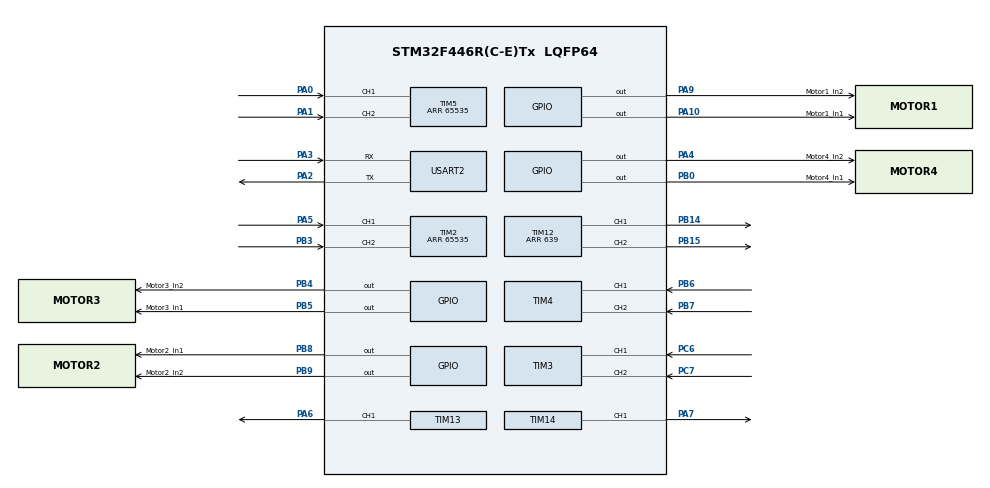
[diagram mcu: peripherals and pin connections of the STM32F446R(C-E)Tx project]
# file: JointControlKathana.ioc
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Dma.Request0=USART2_RX
Dma.Request1=USART2_TX
Dma.USART2_RX.0.Direction=DMA_PERIPH_TO_MEMORY
Dma.USART2_RX.0.FIFOMode=DMA_FIFOMODE_DISABLE
Dma.USART2_RX.0.Instance=DMA1_Stream5
Dma.USART2_RX.0.MemDataAlignment=DMA_MDATAALIGN_BYTE
Dma.USART2_RX.0.MemInc=DMA_MINC_ENABLE
Dma.USART2_RX.0.Mode=DMA_NORMAL
Dma.USART2_RX.0.PeriphDataAlignment=DMA_PDATAALIGN_BYTE
Dma.USART2_RX.0.PeriphInc=DMA_PINC_DISABLE
Dma.USART2_RX.0.Priority=DMA_PRIORITY_LOW
Dma.USART2_TX.1.Direction=DMA_MEMORY_TO_PERIPH
Dma.USART2_TX.1.FIFOMode=DMA_FIFOMODE_DISABLE
Dma.USART2_TX.1.Instance=DMA1_Stream6
Dma.USART2_TX.1.MemDataAlignment=DMA_MDATAALIGN_BYTE
Dma.USART2_TX.1.MemInc=DMA_MINC_ENABLE
Dma.USART2_TX.1.Mode=DMA_NORMAL
Dma.USART2_TX.1.PeriphDataAlignment=DMA_PDATAALIGN_BYTE
Dma.USART2_TX.1.PeriphInc=DMA_PINC_DISABLE
Dma.USART2_TX.1.Priority=DMA_PRIORITY_LOW
Mcu.Family=STM32F4
Mcu.Name=STM32F446R(C-E)Tx
Mcu.Package=LQFP64
NVIC.DMA1_Stream5_IRQn=true\:0\:0\:false\:false\:true\:false\:true\:true
NVIC.DMA1_Stream6_IRQn=true\:0\:0\:false\:false\:true\:false\:true\:true
NVIC.PriorityGroup=NVIC_PRIORITYGROUP_4
NVIC.TIM1_UP_TIM10_IRQn=true\:0\:0\:false\:false\:true\:true\:true\:true
NVIC.TIM2_IRQn=true\:0\:0\:false\:false\:true\:true\:true\:true
NVIC.TIM3_IRQn=true\:0\:0\:false\:false\:true\:true\:true\:true
NVIC.TIM4_IRQn=true\:0\:0\:false\:false\:true\:true\:true\:true
NVIC.TIM5_IRQn=true\:0\:0\:false\:false\:true\:true\:true\:true
NVIC.USART2_IRQn=true\:0\:0\:false\:false\:true\:true\:true\:true
PA0-WKUP.Signal=S_TIM5_CH1
PA1.Signal=S_TIM5_CH2
PA10.GPIO_Label=Motor1_In1
PA10.Signal=GPIO_Output
PA2.Mode=Asynchronous
PA2.Signal=USART2_TX
PA3.Mode=Asynchronous
PA3.Signal=USART2_RX
PA4.GPIO_Label=Motor4_In2
PA4.Signal=GPIO_Output
PA5.Signal=S_TIM2_CH1_ETR
PA6.Signal=S_TIM13_CH1
PA7.Signal=S_TIM14_CH1
PA9.GPIO_Label=Motor1_In2
PA9.Signal=GPIO_Output
PB0.GPIO_Label=Motor4_In1
PB0.Signal=GPIO_Output
PB14.Signal=S_TIM12_CH1
PB15.Signal=S_TIM12_CH2
PB3.Signal=S_TIM2_CH2
PB4.GPIO_Label=Motor3_In2
PB4.Signal=GPIO_Output
PB5.GPIO_Label=Motor3_In1
PB5.Signal=GPIO_Output
PB6.Signal=S_TIM4_CH1
PB7.Signal=S_TIM4_CH2
PB8.GPIO_Label=Motor2_In1
PB8.Signal=GPIO_Output
PB9.GPIO_Label=Motor2_In2
PB9.Signal=GPIO_Output
PC14-OSC32_IN.Mode=LSE-External-Oscillator
PC14-OSC32_IN.Signal=RCC_OSC32_IN
PC15-OSC32_OUT.Mode=LSE-External-Oscillator
PC15-OSC32_OUT.Signal=RCC_OSC32_OUT
PC6.Signal=S_TIM3_CH1
PC7.Signal=S_TIM3_CH2
PH0-OSC_IN.Mode=HSE-External-Oscillator
PH0-OSC_IN.Signal=RCC_OSC_IN
PH1-OSC_OUT.Mode=HSE-External-Oscillator
PH1-OSC_OUT.Signal=RCC_OSC_OUT
ProjectManager.HeapSize=0x200
ProjectManager.StackSize=0x400
ProjectManager.TargetToolchain=STM32CubeIDE
RCC.CortexFreq_Value=16000000
RCC.USBFreq_Value=96000000
RCC.VCOOutputFreq_Value=192000000
SH.S_TIM12_CH1.0=TIM12_CH1,PWM Generation1 CH1
SH.S_TIM12_CH2.0=TIM12_CH2,PWM Generation2 CH2
SH.S_TIM13_CH1.0=TIM13_CH1,PWM Generation1 CH1
SH.S_TIM14_CH1.0=TIM14_CH1,PWM Generation1 CH1
SH.S_TIM2_CH1_ETR.0=TIM2_CH1,Encoder_Interface
SH.S_TIM2_CH2.0=TIM2_CH2,Encoder_Interface
SH.S_TIM3_CH1.0=TIM3_CH1,Encoder_Interface
SH.S_TIM3_CH2.0=TIM3_CH2,Encoder_Interface
SH.S_TIM4_CH1.0=TIM4_CH1,Encoder_Interface
SH.S_TIM4_CH2.0=TIM4_CH2,Encoder_Interface
SH.S_TIM5_CH1.0=TIM5_CH1,Encoder_Interface
SH.S_TIM5_CH2.0=TIM5_CH2,Encoder_Interface
TIM10.Period=8399
TIM10.Prescaler=99
TIM12.Channel-PWM\ Generation1\ CH1=TIM_CHANNEL_1
TIM12.Channel-PWM\ Generation2\ CH2=TIM_CHANNEL_2
TIM12.Period=639
TIM12.Pulse-PWM\ Generation1\ CH1=630
TIM12.Pulse-PWM\ Generation2\ CH2=330
TIM13.Channel=TIM_CHANNEL_1
TIM13.Period=639
TIM13.Pulse=630
TIM14.Channel=TIM_CHANNEL_1
TIM14.Period=639
TIM14.Pulse=630
TIM2.EncoderMode=TIM_ENCODERMODE_TI12
TIM2.Period=65535
TIM3.EncoderMode=TIM_ENCODERMODE_TI12
TIM4.EncoderMode=TIM_ENCODERMODE_TI12
TIM5.EncoderMode=TIM_ENCODERMODE_TI12
TIM5.Period=65535
USART2.VirtualMode=VM_ASYNC
VP_TIM10_VS_ClockSourceINT.Mode=Enable_Timer
VP_TIM13_VS_ClockSourceINT.Mode=Enable_Timer
VP_TIM14_VS_ClockSourceINT.Mode=Enable_Timer
board=custom

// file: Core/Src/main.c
/* USER CODE BEGIN Header */
/**
 ******************************************************************************
 * @file           : main.c
 * @brief          : Main program body
 ******************************************************************************
 * @attention
 *
 * Copyright (c) 2023 STMicroelectronics.
 * All rights reserved.
 *
 * This software is licensed under terms that can be found in the LICENSE file
 * in the root directory of this software component.
 * If no LICENSE file comes with this software, it is provided AS-IS.
 *
 ******************************************************************************
 */
/* USER CODE END Header */
#include "main.h"
#include "dma.h"
#include "tim.h"
#include "usart.h"
#include "gpio.h"

/* USER CODE BEGIN Includes */
#include "motor.h"
#include "pid.h"
#include "math.h"
#include <stdio.h>
#include <stdlib.h>
#include <time.h>
/* USER CODE END Includes */

/* USER CODE BEGIN PD */

#define RandomNumber(Min, Max)	((float)(rand()) / (float)RAND_MAX) * (Max - Min) + Min
/* USER CODE END PD */

/* USER CODE BEGIN PV */
extern Motor_t motor1;
extern Motor_t motor2;
extern Motor_t motor3;
extern Motor_t motor4;

extern PID_t pid1;
extern PID_t pid2;
extern PID_t pid3;
extern PID_t pid4;

/* QUESTE VARIABILI SERVONO SOLO PER LA RACCOLTA DEL DATASET */
char message[] = "aaaaaaaaaaaaaaaaaaaaaaaaaaaaaaaaaaaaaaaaaaaaaa";
uint32_t start_time;

float dc = 60; /* NELLA RACCOLTA DEL DATASET CON SEGNALE COSTANTE, CAMBIARE QUESTO VALORE
					 * (altrimenti commentarlo per la raccolta del dataset con segnale casuale) */

float amplitude_dc = 100; /* NELLA RACCOLTA DEL DATASET CON SEGNALE , CAMBIARE QUESTO VALORE
						   	    * (altrimenti commentarlo per la raccolta del dataset con segnale costante) */

uint32_t tickstart_changedir = 0;
uint32_t wait_change = 3000;
uint8_t set_wait = 0;
uint8_t change_dir = 0;
/* USER CODE END PV */

void SystemClock_Config(void);
/* USER CODE BEGIN PFP */
void control_law(Motor_t *motor, PID_t * pid,float target){
	motor->angle_target = target;
	float dc = pid_control(pid, motor);
	if(fabsf(dc) > 0){
		__MOTOR_SETDC(motor,dc);
		if(motor->dir > 0)
			__MOTOR_MOVE_CLOCKWISE(motor);
		else if (motor->dir < 0)
			__MOTOR_MOVE_COUNTERCLOCKWISE(motor);
	}
	else{
		__MOTOR_SETDC(motor,dc);
		__MOTOR_STOPMOTOR(motor);
	}
}

/* USER CODE END PFP */

int main(void)
{

	/* MCU Configuration--------------------------------------------------------*/

	/* Reset of all peripherals, Initializes the Flash interface and the Systick. */
	HAL_Init();

	/* Configure the system clock */
	SystemClock_Config();

	/* Initialize all configured peripherals */
	MX_GPIO_Init();
	MX_DMA_Init();
	MX_TIM2_Init();
	MX_TIM3_Init();
	MX_TIM4_Init();
	MX_TIM5_Init();
	MX_TIM12_Init();
	MX_TIM10_Init();
	MX_USART2_UART_Init();
	MX_TIM13_Init();
	MX_TIM14_Init();
	/* USER CODE BEGIN 2 */

	HAL_TIM_PWM_Start(&htim13, TIM_CHANNEL_1); // PWM Motor 1
	HAL_TIM_PWM_Start(&htim14, TIM_CHANNEL_1); // PWM Motor 2
	HAL_TIM_PWM_Start(&htim12, TIM_CHANNEL_1); // PWM Motor 3
	HAL_TIM_PWM_Start(&htim12, TIM_CHANNEL_2); // PWM Motor 4

//	__MOTOR_INIT_ENCODER(&motor1);
//	__MOTOR_INIT_ENCODER(&motor2);
	__MOTOR_INIT_ENCODER(&motor3);
//	__MOTOR_INIT_ENCODER(&motor4);

	HAL_TIM_Base_Start_IT(&htim10);
	/* USER CODE END 2 */

	/* Infinite loop */
	/* USER CODE BEGIN WHILE */

	/* PER DATASET DC COSTANTE */
	// Commentarle tutte tranne la riga relativa al tipo di acquisizione
//	__MOTOR_SETDC(&motor1, dc);
//	__MOTOR_SETDC(&motor2, dc);
	__MOTOR_SETDC(&motor3, dc);
//	__MOTOR_SETDC(&motor4, dc);
	start_time = HAL_GetTick();

	/* PER DATASET RANDOM DC */
//	__MOTOR_SETDC(&motor1,RandomNumber(0, amplitude_dc));
//	__MOTOR_SETDC(&motor2,RandomNumber(0, amplitude_dc));
//	__MOTOR_SETDC(&motor3,RandomNumber(0, amplitude_dc));
//	__MOTOR_SETDC(&motor4,RandomNumber(0, amplitude_dc));

	while (1)
	{

		memset(message, 0, sizeof(message));
		/* SEND INFO TO PYTHON (LASCIARE DECOMMENTATA SOLO UNA DELLE SEGUENTI LINEE DI CODICE)*/

		//sprintf(message,"%d %f %f %d\r\n",motor2.dir,motor1.duty_cycle,motor2.angular_position,HAL_GetTick()-start_time);
		//sprintf(message,"%d %f %f %d\r\n",motor2.dir,motor2.duty_cycle,motor2.angular_position,HAL_GetTick()-start_time);
		sprintf(message,"%d %f %f %d\r\n",motor3.dir,motor3.duty_cycle,motor3.angular_position,HAL_GetTick()-start_time);
		//sprintf(message,"%d %f %f %d\r\n",motor4.dir,motor4.duty_cycle,motor4.angular_position,HAL_GetTick()-start_time);

		/* USER CODE END WHILE */

		/* USER CODE BEGIN 3 */
		HAL_UART_Transmit(&huart2, (uint8_t*)message, sizeof(message) - 1, HAL_MAX_DELAY);

	}
	/* USER CODE END 3 */
}

void SystemClock_Config(void)
{
	RCC_OscInitTypeDef RCC_OscInitStruct = {0};
	RCC_ClkInitTypeDef RCC_ClkInitStruct = {0};

	/** Configure the main internal regulator output voltage
	 */
	__HAL_RCC_PWR_CLK_ENABLE();
	__HAL_PWR_VOLTAGESCALING_CONFIG(PWR_REGULATOR_VOLTAGE_SCALE3);

	/** Initializes the RCC Oscillators according to the specified parameters
	 * in the RCC_OscInitTypeDef structure.
	 */
	RCC_OscInitStruct.OscillatorType = RCC_OSCILLATORTYPE_HSI;
	RCC_OscInitStruct.HSIState = RCC_HSI_ON;
	RCC_OscInitStruct.HSICalibrationValue = RCC_HSICALIBRATION_DEFAULT;
	RCC_OscInitStruct.PLL.PLLState = RCC_PLL_NONE;
	if (HAL_RCC_OscConfig(&RCC_OscInitStruct) != HAL_OK)
	{
		Error_Handler();
	}

	/** Initializes the CPU, AHB and APB buses clocks
	 */
	RCC_ClkInitStruct.ClockType = RCC_CLOCKTYPE_HCLK|RCC_CLOCKTYPE_SYSCLK
			|RCC_CLOCKTYPE_PCLK1|RCC_CLOCKTYPE_PCLK2;
	RCC_ClkInitStruct.SYSCLKSource = RCC_SYSCLKSOURCE_HSI;
	RCC_ClkInitStruct.AHBCLKDivider = RCC_SYSCLK_DIV1;
	RCC_ClkInitStruct.APB1CLKDivider = RCC_HCLK_DIV1;
	RCC_ClkInitStruct.APB2CLKDivider = RCC_HCLK_DIV1;

	if (HAL_RCC_ClockConfig(&RCC_ClkInitStruct, FLASH_LATENCY_0) != HAL_OK)
	{
		Error_Handler();
	}
}

/* USER CODE BEGIN 4 */
void HAL_TIM_PeriodElapsedCallback(TIM_HandleTypeDef *htim){
	if(htim->Instance == TIM10){
		/* Questa funzione viene chiamata automaticamente dalla libreria HAL ogni volta che
		 * il contatore del timer 10 ha raggiunto il suo valore massimo (periodo) e si è azzerato */

		__disable_irq();
		/* Funzioni misure dataset*/
		/*Lasciare decommentata solo una delle seguenti linee di codice in base al tipo di misura e i parametri cambiati nel main*/

		//randomDC_EveryTS_DataSet(&motor1);
		//randomDC_EveryTS_DataSet(&motor2);
		//randomDC_EveryTS_DataSet(&motor3);
		//randomDC_EveryTS_DataSet(&motor4);

		//randomDC_Every3Sec_DataSet(&motor1);
		//randomDC_Every3Sec_DataSet(&motor2);
		//randomDC_Every3Sec_DataSet(&motor3);
		//randomDC_Every3Sec_DataSet(&motor4);

		//constantDC(&motor1);
		//constantDC(&motor2);
		constantDC(&motor3);
		//constantDC(&motor4);

		/*****/
		control_law(&motor1, &pid1, 0);
		//control_law(&motor2, &pid2, 90);
		//control_law(&motor3, &pid3, 0);
		//control_law(&motor4, &pid4, 0);
		__enable_irq();
	}
}

void HAL_TIM_IC_CaptureCallback(TIM_HandleTypeDef *htim){
	/*QUI VENGONO GESTITE LE LETTURE DALL'ENCODER*/

	if(htim->Instance == TIM2){
		/*Encoder Motor 1*/
		motor1.cnt_tick = (int32_t)__HAL_TIM_GET_COUNTER(htim);
		__MOTOR_ESTIMATE_ANGULAR_POSITION(&motor1);

	}	else if(htim->Instance == TIM3){
		/*Encoder Motor 3 */
//		motor3.cnt_tick = (int32_t)__HAL_TIM_GET_COUNTER(htim);
		motor3.cnt_tick = (__HAL_TIM_GET_COUNTER(htim) <= motor3.total_tick + 1000) ? (int32_t)__HAL_TIM_GET_COUNTER(htim) : (int32_t)__HAL_TIM_GET_COUNTER(htim) | 0xFFFF0000;
		__MOTOR_ESTIMATE_ANGULAR_POSITION(&motor3);
	}	else if(htim->Instance == TIM4){
		/*Encoder Motor 4*/
//		motor4.cnt_tick = (int32_t)__HAL_TIM_GET_COUNTER(htim);
		motor4.cnt_tick = (__HAL_TIM_GET_COUNTER(htim) <= motor4.total_tick + 1000) ? (int32_t)__HAL_TIM_GET_COUNTER(htim) : (int32_t)__HAL_TIM_GET_COUNTER(htim) | 0xFFFF0000;
		__MOTOR_ESTIMATE_ANGULAR_POSITION(&motor4);

	}	else if(htim->Instance == TIM5){
		/*Encoder Motor 2*/
		motor2.cnt_tick = (int32_t)__HAL_TIM_GET_COUNTER(htim);
		__MOTOR_ESTIMATE_ANGULAR_POSITION(&motor2);
	}
}

void constantDC(Motor_t *motor){

	__MOTOR_SETDC(motor,dc);
	if(change_dir == 0){
		__MOTOR_MOVE_CLOCKWISE(motor);
		motor->dir = 1;
	}
	else{
		__MOTOR_MOVE_COUNTERCLOCKWISE(motor);
		motor->dir = -1;
	}

	/* LIMITA IL RANGE OPERATIVO DEL BRACCIO TRA 20° E 200° */
	if(motor->angular_position <= 50){
		__MOTOR_MOVE_CLOCKWISE(motor);
		if(change_dir == 1){
			change_dir = 0;
			motor->dir = 1;
		}
	}
	else if(motor->angular_position >= 200){
		__MOTOR_MOVE_COUNTERCLOCKWISE(motor);
		change_dir = 1;
		motor->dir = -1;
	}
}

void randomDC_EveryTS_DataSet(Motor_t *motor){

	__MOTOR_SETDC(motor, RandomNumber(0, amplitude_dc));
	if(change_dir == 0){
		__MOTOR_MOVE_CLOCKWISE(motor);
		motor->dir = 1;
	}
	else{
		__MOTOR_MOVE_COUNTERCLOCKWISE(motor);
		motor->dir = -1;
	}

	/* LIMITA IL RANGE OPERATIVO DEL BRACCIO TRA 20° E 200° */
	if(motor->angular_position < 20){
		__MOTOR_MOVE_CLOCKWISE(motor);
		if(change_dir == 1){
			change_dir = 0;
			motor->dir = 1;
		}
	}
	else if(motor->angular_position >= 200){
		__MOTOR_MOVE_COUNTERCLOCKWISE(motor);
		change_dir = 1;
		motor->dir = -1;
	}
}
void randomDC_Every3Sec_DataSet(Motor_t *motor){

	/* CONTROLLA SE E' STATO SETTATO L'ISTANTE INIZIALE DELLA MISURA DEL TEMPO PER CAMBIARE DIREZIONE (FATTO SOLO 1 VOLTA) */
	if(set_wait == 0){
		uint32_t tickstart_changedir = HAL_GetTick();
		if (wait_change < HAL_MAX_DELAY)
		{
			wait_change += (uint32_t)(uwTickFreq);
		}
		set_wait = 1;
	}

	if(change_dir == 0){
		__MOTOR_MOVE_CLOCKWISE(motor);
		motor->dir = 1;
	}
	else{
		__MOTOR_MOVE_COUNTERCLOCKWISE(motor);
		motor->dir = -1;
	}

	/* LIMITA IL RANGE OPERATIVO DEL BRACCIO TRA 20° E 200° */
	if(motor->angular_position < 20){
		__MOTOR_MOVE_CLOCKWISE(motor);
		if(change_dir == 1){
			change_dir = 0;
			motor->dir = 1;
		}
	}
	else if(motor->angular_position >= 200){
		__MOTOR_MOVE_COUNTERCLOCKWISE(motor);
		change_dir = 1;
		motor->dir = -1;
	}

	if((HAL_GetTick() - tickstart_changedir) >= wait_change){
		/* Eseguito ogni wait_change (SEC) */
		__MOTOR_SETDC(motor,RandomNumber(0, amplitude_dc));
		tickstart_changedir = HAL_GetTick();
	}
}

/* USER CODE END 4 */

void Error_Handler(void)
{
	__disable_irq();
	while (1)
	{
	}
}
